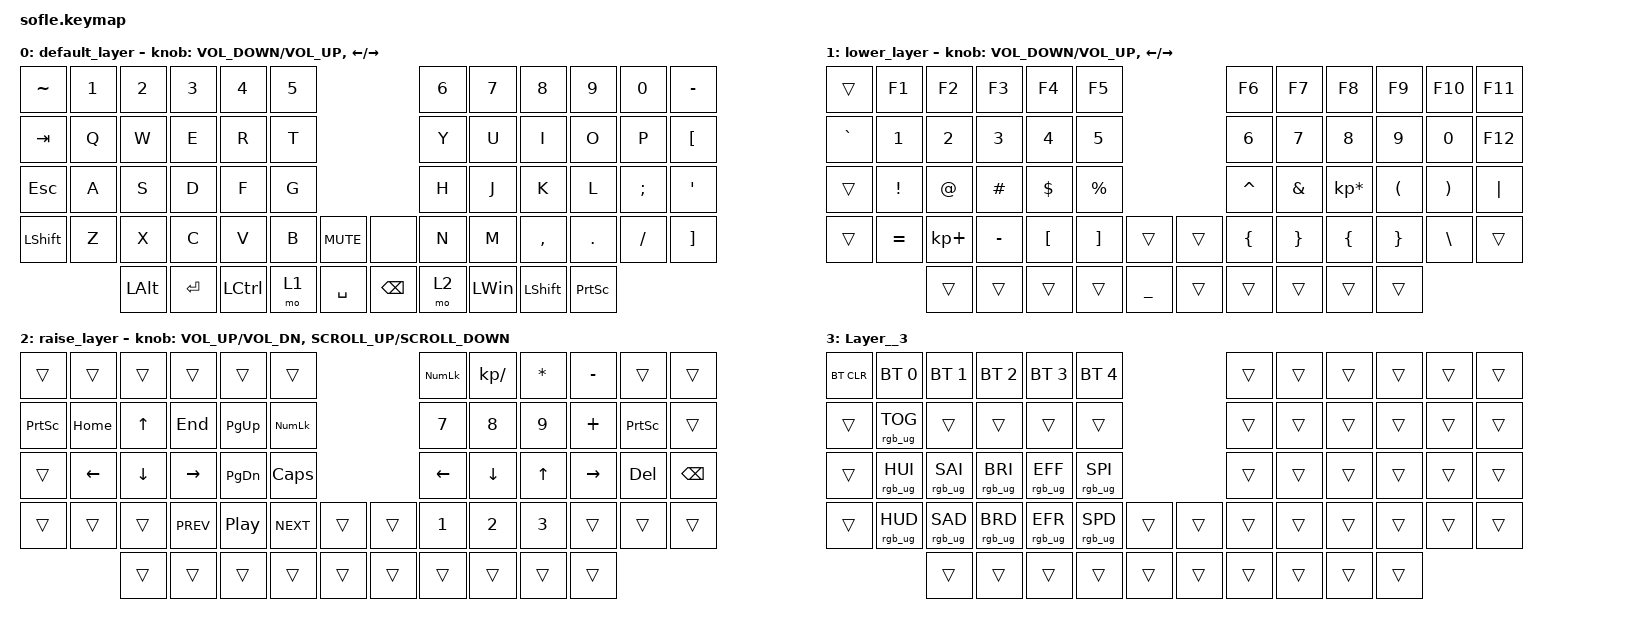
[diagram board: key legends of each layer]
/*
 * Copyright (c) 2020 The ZMK Contributors
 *
 * SPDX-License-Identifier: MIT
 */

#include <behaviors.dtsi>
#include <dt-bindings/zmk/bt.h>
#include <dt-bindings/zmk/keys.h>
#include <dt-bindings/zmk/rgb.h>

&lt {
    flavor = "hold-preferred";
    quick-tap-ms = <200>;
};

/ {
    combos {
        compatible = "zmk,combos";

        new_combo {
            bindings = <&trans>;
            key-positions = <>;
        };
    };

    keymap {
        compatible = "zmk,keymap";

        default_layer {
            // ------------------------------------------------------------------------------------------------------------
            // |  `    |  1  |  2  |  3   |  4   |  5   |                   |  6   |  7    |  8    |  9   |   0   |       |
            // |  ESC  |  Q  |  W  |  E   |  R   |  T   |                   |  Y   |  U    |  I    |  O   |   P   | BKSPC |
            // |  TAB  |  A  |  S  |  D   |  F   |  G   |                   |  H   |  J    |  K    |  L   |   ;   |   '   |
            // | SHIFT |  Z  |  X  |  C   |  V   |  B   |  MUTE  |  |       |  N   |  M    |  ,    |  .   |   /   | SHIFT |
            //               | GUI | ALT  | CTRL | LOWER|  ENTER |  | SPACE | RAISE| CTRL  | ALT   | GUI  |

            bindings = <
&kp TILDE       &kp N1  &kp N2        &kp N3     &kp N4            &kp N5                             &kp N6  &kp N7        &kp N8          &kp N9           &kp N0    &kp MINUS
&kp TAB         &kp Q   &kp W         &kp E      &kp R             &kp T                              &kp Y   &kp U         &kp I           &kp O            &kp P     &kp LBKT
&kp ESCAPE      &kp A   &kp S         &kp D      &kp F             &kp G                              &kp H   &kp J         &kp K           &kp L            &kp SEMI  &kp SQT
&kp LEFT_SHIFT  &kp Z   &kp X         &kp C      &kp V             &kp B   &kp C_MUTE  &none          &kp N   &kp M         &kp COMMA       &kp DOT          &kp FSLH  &kp RBKT
                        &kp LEFT_ALT  &kp ENTER  &kp LEFT_CONTROL  &mo 1   &kp SPACE   &kp BACKSPACE  &mo 2   &kp LEFT_WIN  &kp LEFT_SHIFT  &kp PRINTSCREEN
            >;

            sensor-bindings =
                <&inc_dec_kp C_VOLUME_DOWN C_VOLUME_UP>,
                <&inc_dec_kp LEFT_ARROW RIGHT_ARROW>;
        };

        lower_layer {
            // TODO: Some binds are waiting for shifted keycode support.
            // ------------------------------------------------------------------------------------------------------------
            // |       |  F1 |  F2 |  F3  |  F4  |  F5  |                   |  F6  |  F7   |  F8   |  F9  |  F10  |  F11  |
            // | `     |   1 |   2 |   3  |   4  |   5  |                   |   6  |   7   |   8   |   9  |    0  |  F12  |
            // |       |  !  |  @  |  #   |  $   |  %   |                   |  ^   |  &    |  *    |  (   |   )   |   |   |
            // |       |  =  |  -  |  +   |  {   |  }   |        |  |       |  [   |  ]    |  ;    |  :   |   \   |       |
            //               |     |      |      |      |        |  |       |      |       |       |      |

            bindings = <
&trans     &kp F1     &kp F2       &kp F3     &kp F4            &kp F5                                &kp F6          &kp F7           &kp F8           &kp F9           &kp F10   &kp F11
&kp GRAVE  &kp N1     &kp N2       &kp N3     &kp N4            &kp N5                                &kp N6          &kp N7           &kp N8           &kp NUMBER_9     &kp N0    &kp F12
&trans     &kp EXCL   &kp AT       &kp HASH   &kp DLLR          &kp PRCNT                             &kp CARET       &kp AMPS         &kp KP_MULTIPLY  &kp LPAR         &kp RPAR  &kp PIPE
&trans     &kp EQUAL  &kp KP_PLUS  &kp MINUS  &kp LEFT_BRACKET  &kp RIGHT_BRACKET  &trans     &trans  &kp LEFT_BRACE  &kp RIGHT_BRACE  &kp LEFT_BRACE   &kp RIGHT_BRACE  &kp BSLH  &trans
                      &trans       &trans     &trans            &trans             &kp UNDER  &trans  &trans          &trans           &trans           &trans
            >;

            sensor-bindings =
                <&inc_dec_kp C_VOLUME_DOWN C_VOLUME_UP>,
                <&inc_dec_kp LEFT_ARROW RIGHT_ARROW>;
        };

        raise_layer {
            // ------------------------------------------------------------------------------------------------------------
            // |BTCLR| BT1  | BT2  |  BT3  |  BT4  |  BT5 |                |      |      |       |      |       |       |
            // |     | INS  | PSCR | GUI   |       |      |                | PGUP |      |       |      |       |       |
            // |     | ALT  | CTRL | SHIFT |       | CAPS |                |  <-  |   ^  |   v   |  ->  |  DEL  | BKSPC |
            // |     | UNDO | CUT  | COPY  | PASTE |      |      |  |      |      |      |       |      |       |       |
            //              |      |       |       |      |      |  |      |      |      |       |      |

            bindings = <
&trans           &trans    &trans    &trans      &trans            &trans                      &kp KP_NUMLOCK  &kp KP_DIVIDE  &kp STAR      &kp MINUS  &trans           &trans
&kp PRINTSCREEN  &kp HOME  &kp UP    &kp END     &kp PAGE_UP       &kp KP_NUM                  &kp NUMBER_7    &kp NUMBER_8   &kp NUMBER_9  &kp PLUS   &kp PRINTSCREEN  &trans
&trans           &kp LEFT  &kp DOWN  &kp RIGHT   &kp PAGE_DOWN     &kp CLCK                    &kp LEFT        &kp DOWN       &kp UP        &kp RIGHT  &kp DEL          &kp BSPC
&trans           &trans    &trans    &kp C_PREV  &kp C_PLAY_PAUSE  &kp C_NEXT  &trans  &trans  &kp NUMBER_1    &kp NUMBER_2   &kp NUMBER_3  &trans     &trans           &trans
                           &trans    &trans      &trans            &trans      &trans  &trans  &trans          &trans         &trans        &trans
            >;

            sensor-bindings = <&inc_dec_kp C_VOL_UP C_VOL_DN &inc_dec_kp K_SCROLL_UP K_SCROLL_DOWN>;
        };

        Layer__3 {
            bindings = <
&bt BT_CLR  &bt BT_SEL 0     &bt BT_SEL 1     &bt BT_SEL 2     &bt BT_SEL 3     &bt BT_SEL 4                     &trans  &trans  &trans  &trans  &trans  &trans
&trans      &rgb_ug RGB_TOG  &trans           &trans           &trans           &trans                           &trans  &trans  &trans  &trans  &trans  &trans
&trans      &rgb_ug RGB_HUI  &rgb_ug RGB_SAI  &rgb_ug RGB_BRI  &rgb_ug RGB_EFF  &rgb_ug RGB_SPI                  &trans  &trans  &trans  &trans  &trans  &trans
&trans      &rgb_ug RGB_HUD  &rgb_ug RGB_SAD  &rgb_ug RGB_BRD  &rgb_ug RGB_EFR  &rgb_ug RGB_SPD  &trans  &trans  &trans  &trans  &trans  &trans  &trans  &trans
                             &trans           &trans           &trans           &trans           &trans  &trans  &trans  &trans  &trans  &trans
            >;
        };
    };
};
